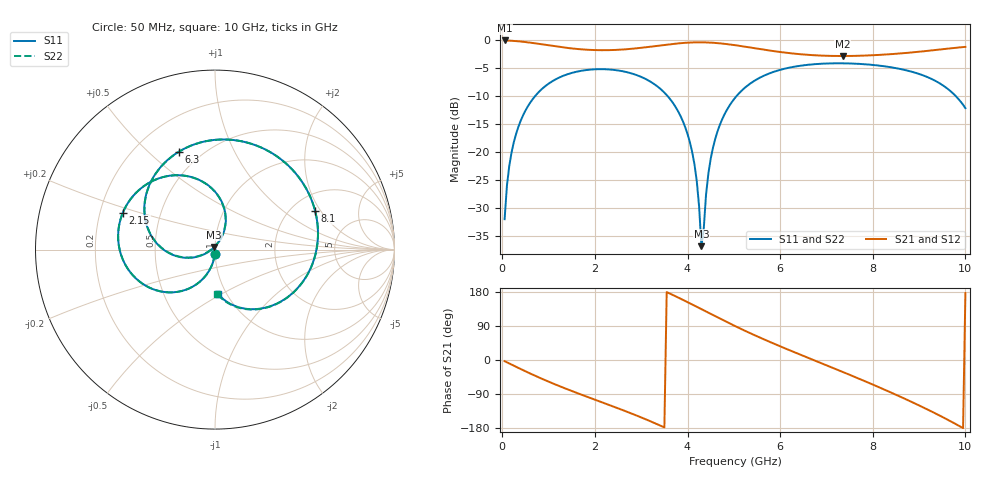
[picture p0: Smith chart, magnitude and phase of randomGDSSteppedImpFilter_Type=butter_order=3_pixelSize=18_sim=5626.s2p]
! freq	dB(S11)	phase(S11)	dB(S12)	phase(S12)
!  dB(S21)	phase(S21)	dB(S22)	phase(S22)
!S-par simulation data
#  GHz  S  DB  R 50
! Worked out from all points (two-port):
!   200 points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, 50 MHz to 10 GHz, reference 50 ohm
!   highest |S21| = -0.01 dB at 50 MHz (marker M1); lowest = -2.8 dB at 7.35 GHz (marker M2)
!   |S21| within 3 dB of the highest: start of sweep to end of sweep
!   lowest |S11| = -36.8 dB at 4.3 GHz (marker M3), VSWR 1.03, Z = 49.6 + j1.38 ohm
!   |S11| at or under -10 dB: start of sweep to 704.9 MHz; 3.573 GHz to 5.054 GHz (1.48 GHz wide, 34.3 % of centre); 9.797 GHz to end of sweep
!   |S22| runs from -36.0 to -4.1 dB; largest |S21 - S12| = 0
!   S11 on the Smith chart (normalised r, x): 50 MHz: 1.00, -0.05; 2.15 GHz: 0.30, +0.18; 6.3 GHz: 0.38, +0.63; 8.1 GHz: 2.67, +1.77; 10 GHz: 0.91, -0.48
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0.05  -31.98 -93.1  -0.01 -3.1  -0.01 -3.1  -31.98 -93.1
0.2  -20.05 -102.6  -0.06 -12.1  -0.06 -12.1  -20.05 -102.6
0.5  -12.55 -120.3  -0.29 -29.8  -0.29 -29.8  -12.55 -120.3
1.05  -7.46 -150.2  -0.94 -59.7  -0.94 -59.7  -7.45 -150.2
1.75  -5.37 176.2  -1.62 -93.4  -1.62 -93.4  -5.37 176.2
2.15  -5.14 158.1  -1.75 -111.5  -1.75 -111.5  -5.14 158.1
2.85  -6.06 125.9  -1.45 -144.1  -1.45 -144.1  -6.06 125.9
3.4  -8.57 98.2  -0.91 -172.4  -0.91 -172.4  -8.57 98.4
4.05  -18.19 64.4  -0.38 149.6  -0.38 149.6  -18.17 65.1
4.2  -25.19 62.5  -0.34 140.4  -0.34 140.4  -25.13 64.0
4.3  -36.80 105.5  -0.34 134.1  -0.34 134.1  -36.00 108.0
4.45  -23.80 -156.8  -0.37 124.7  -0.37 124.7  -23.75 -158.3
4.55  -19.16 -158.4  -0.42 118.5  -0.42 118.5  -19.15 -159.3
5.05  -10.03 175.7  -0.88 88.2  -0.88 88.2  -10.03 175.4
5.65  -6.31 143.3  -1.66 54.5  -1.66 54.5  -6.31 143.0
6.3  -4.71 110.3  -2.36 20.9  -2.36 20.9  -4.71 110.1
6.7  -4.28 90.6  -2.63 1.0  -2.63 1.0  -4.28 90.4
7.35  -4.09 58.7  -2.79 -31.4  -2.79 -31.4  -4.10 58.5
8.1  -4.47 20.9  -2.61 -70.0  -2.61 -70.0  -4.47 20.6
8.35  -4.74 7.9  -2.48 -83.4  -2.48 -83.4  -4.75 7.6
9.2  -6.63 -38.6  -1.85 -131.7  -1.85 -131.7  -6.64 -39.1
10  -12.11 -85.9  -1.16 176.8  -1.16 176.8  -12.13 -87.0
